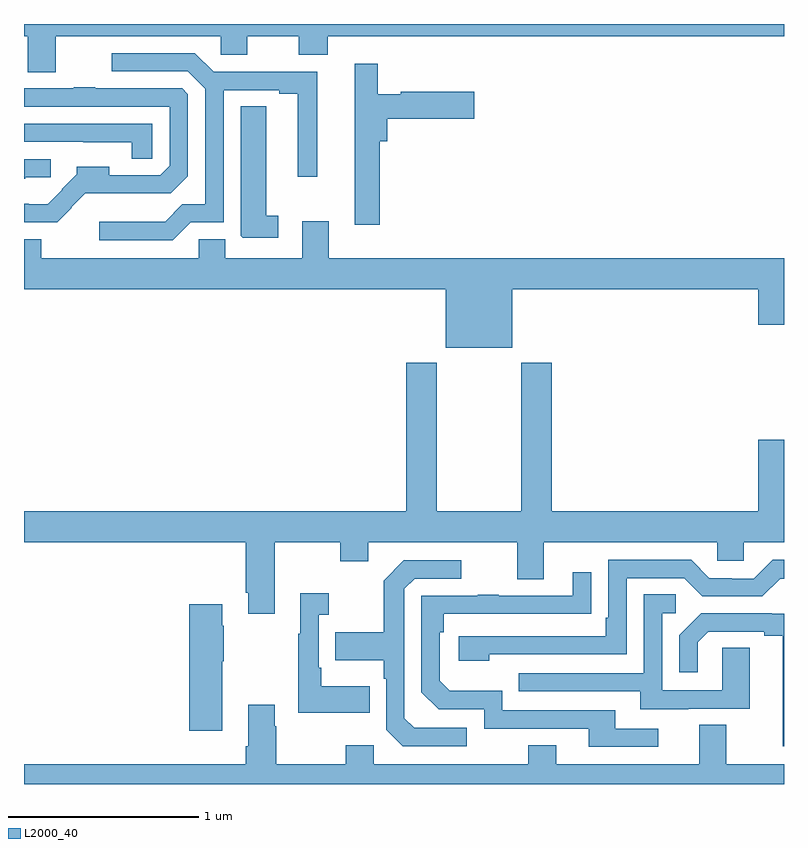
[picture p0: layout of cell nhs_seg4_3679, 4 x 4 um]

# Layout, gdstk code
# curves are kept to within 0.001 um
import gdstk
lib = gdstk.Library(unit=1e-6, precision=1e-09)
def P(c, l, *ps):  # polygons
    for p in ps: c.add(gdstk.Polygon(p, *l))
L2000_40 = (2000, 40)

nhs_seg4_3679 = lib.new_cell('nhs_seg4_3679')
P(nhs_seg4_3679, L2000_40, [(305.167,780.836),(306.036,780.836),(306.036,780.738),(306.175,780.738),(306.175,780.836),(306.446,780.836),(306.446,780.737),(306.599,780.737),(306.599,780.836),(309,780.836),(309,780.9),(305,780.9),(305,780.836),(305.02,780.836),(305.02,780.646),(305.167,780.646)],
  [(305.877,779.856),(306.051,779.856),(306.051,780.552),(306.344,780.552),(306.344,780.532),(306.44,780.532),(306.44,780.096),(306.544,780.096),(306.544,780.648),(305.998,780.648),(305.899,780.747),(305.463,780.747),(305.463,780.651),(305.862,780.651),(305.955,780.558),(305.955,779.951),(305.834,779.951),(305.743,779.86),(305.397,779.86),(305.397,779.763),(305.784,779.763)],
  [(306.872,780.284),(306.911,780.284),(306.911,780.401),(307.369,780.401),(307.369,780.543),(306.984,780.543),(306.984,780.531),(306.862,780.531),(306.862,780.691),(306.74,780.691),(306.74,779.844),(306.872,779.844)],
  [(305.251,779.933),(305.249,779.935),(305.323,780.009),(305.657,780.008),(305.657,780.01),(305.773,780.01),(305.862,780.099),(305.862,780.531),(305.832,780.561),(305.375,780.561),(305.375,780.566),(305.263,780.566),(305.263,780.561),(305,780.561),(305,780.465),(305.766,780.465),(305.766,780.153),(305.718,780.105),(305.449,780.105),(305.449,780.148),(305.278,780.148),(305.278,780.109),(305.199,780.03),(305.202,780.027),(305.126,779.951),(305.024,779.951),(305.024,779.953),(305,779.953),(305,779.856),(305.175,779.856)],
  [(306.337,779.891),(306.274,779.891),(306.274,780.467),(306.14,780.467),(306.14,779.785),(306.15,779.775),(306.337,779.775)],
  [(305.676,780.375),(305,780.375),(305,780.279),(305.313,780.279),(305.313,780.278),(305.568,780.278),(305.568,780.19),(305.676,780.19)],
  [(305.007,780.093),(305.142,780.093),(305.142,780.189),(305,780.189),(305,780.086),(305.007,780.086)],
  [(307.57,779.504),(308.864,779.504),(308.864,779.316),(309,779.316),(309,779.668),(306.604,779.668),(306.604,779.863),(306.464,779.863),(306.464,779.668),(306.058,779.668),(306.058,779.766),(305.919,779.766),(305.919,779.668),(305.091,779.668),(305.091,779.767),(305,779.767),(305,779.504),(307.22,779.504),(307.22,779.195),(307.57,779.195)],
  [(306.319,778.172),(306.664,778.172),(306.664,778.073),(306.811,778.073),(306.811,778.172),(307.595,778.172),(307.595,777.978),(307.735,777.978),(307.735,778.172),(308.649,778.172),(308.649,778.074),(308.787,778.074),(308.787,778.172),(309,778.172),(309,778.711),(308.864,778.711),(308.864,778.336),(307.778,778.336),(307.778,779.116),(307.618,779.116),(307.618,778.336),(307.173,778.336),(307.173,779.116),(307.013,779.116),(307.013,778.336),(305,778.336),(305,778.172),(306.167,778.172),(306.167,777.907),(306.179,777.907),(306.179,777.795),(306.319,777.795)],
  [(307.448,777.582),(308.172,777.582),(308.172,777.984),(308.475,777.984),(308.571,777.888),(308.886,777.888),(308.979,777.981),(309,777.981),(309,778.081),(308.941,778.081),(308.841,777.981),(308.726,777.981),(308.726,777.984),(308.607,777.984),(308.511,778.08),(308.076,778.08),(308.076,777.775),(308.063,777.775),(308.063,777.678),(307.287,777.678),(307.287,777.548),(307.448,777.548)],
  [(307.33,777.195),(307.053,777.195),(307.002,777.246),(307.002,777.927),(307.056,777.981),(307.3,777.981),(307.3,778.077),(306.999,778.077),(306.894,777.971),(306.894,777.699),(306.637,777.699),(306.637,777.551),(306.894,777.551),(306.894,777.455),(306.906,777.455),(306.906,777.186),(306.993,777.099),(307.33,777.099)],
  [(308.338,777.192),(308.113,777.192),(308.113,777.288),(307.518,777.288),(307.518,777.391),(307.241,777.391),(307.188,777.444),(307.188,777.698),(307.208,777.698),(307.208,777.795),(307.985,777.796),(307.985,778.015),(307.889,778.015),(307.889,777.891),(307.499,777.891),(307.499,777.896),(307.387,777.896),(307.387,777.891),(307.092,777.891),(307.092,777.384),(307.182,777.294),(307.422,777.294),(307.422,777.192),(307.973,777.192),(307.973,777.096),(308.338,777.096)],
  [(306.821,777.415),(306.565,777.415),(306.565,777.511),(306.552,777.511),(306.552,777.791),(306.604,777.791),(306.604,777.904),(306.455,777.904),(306.455,777.691),(306.444,777.691),(306.444,777.275),(306.821,777.275)],
  [(308.497,777.297),(308.821,777.297),(308.821,777.617),(308.676,777.617),(308.676,777.393),(308.358,777.393),(308.358,777.798),(308.431,777.798),(308.431,777.899),(308.262,777.899),(308.262,777.483),(307.603,777.483),(307.603,777.387),(308.243,777.387),(308.243,777.293),(308.497,777.293)],
  [(306.043,777.545),(306.051,777.545),(306.051,777.734),(306.043,777.734),(306.043,777.847),(305.87,777.847),(305.87,777.18),(306.043,777.18)],
  [(309,777.795),(308.936,777.795),(308.936,777.798),(308.564,777.798),(308.448,777.682),(308.448,777.489),(308.545,777.489),(308.545,777.645),(308.602,777.702),(308.897,777.702),(308.897,777.68),(308.993,777.68),(308.993,777.099),(309,777.099)],
  [(309,777.004),(308.695,777.004),(308.695,777.212),(308.555,777.212),(308.555,777.004),(307.801,777.004),(307.801,777.103),(307.654,777.103),(307.654,777.004),(306.84,777.004),(306.84,777.103),(306.694,777.103),(306.694,777.004),(306.327,777.004),(306.327,777.203),(306.319,777.203),(306.319,777.316),(306.179,777.316),(306.179,777.1),(306.167,777.1),(306.167,777.004),(305,777.004),(305,776.9),(309,776.9)])

lib.write_gds('nhs_seg4_3679.gds')
